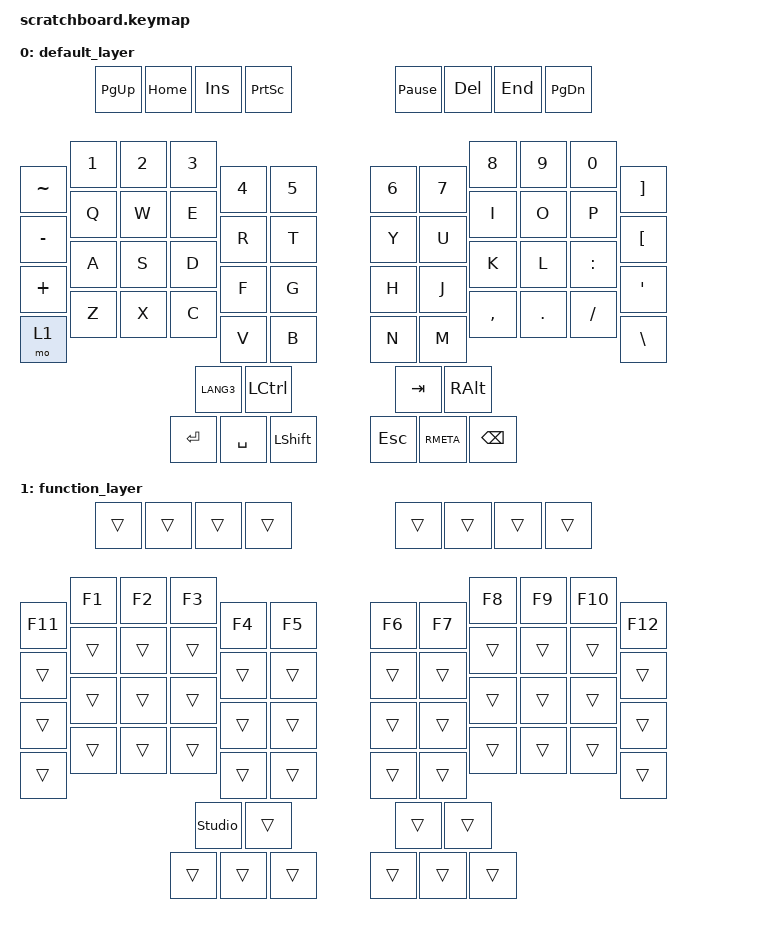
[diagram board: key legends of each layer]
// This file was generated from a template. Edit it to match your keyboard.
// See https://zmk.dev/docs/development/hardware-integration/new-shield for more instructions.

#include <behaviors.dtsi>
#include <dt-bindings/zmk/keys.h>

/ {
    // Define a default keymap here.
    // See https://zmk.dev/docs/development/hardware-integration/new-shield#default-keymap.

    keymap {
        compatible = "zmk,keymap";

        default_layer {
            bindings = <
                      &kp PG_UP         &kp HOME  &kp INS    &kp PSCRN   &kp PAUSE_BREAK  &kp DEL    &kp END        &kp PG_DN
&kp TILDE  &kp N1     &kp N2            &kp N3    &kp N4     &kp N5      &kp N6           &kp N7     &kp N8         &kp N9      &kp N0         &kp RBKT
&kp MINUS  &kp Q      &kp W             &kp E     &kp R      &kp T       &kp Y            &kp U      &kp I          &kp O       &kp P          &kp LBKT
&kp PLUS   &kp A      &kp S             &kp D     &kp F      &kp G       &kp H            &kp J      &kp K          &kp L       &kp COLON      &kp SQT
&mo 1      &kp Z      &kp X             &kp C     &kp V      &kp B       &kp N            &kp M      &kp COMMA      &kp PERIOD  &kp SLASH      &kp BSLH
           &kp LANG3  &kp LCTRL         &kp RET   &kp SPACE  &kp LSHIFT  &kp ESC          &kp RMETA  &kp BACKSPACE  &kp TAB     &kp RIGHT_ALT
            >;
        };

        function_layer {
            bindings = <
                         &trans  &trans  &trans  &trans  &trans  &trans  &trans  &trans
&kp F11  &kp F1          &kp F2  &kp F3  &kp F4  &kp F5  &kp F6  &kp F7  &kp F8  &kp F9  &kp F10  &kp F12
&trans   &trans          &trans  &trans  &trans  &trans  &trans  &trans  &trans  &trans  &trans   &trans
&trans   &trans          &trans  &trans  &trans  &trans  &trans  &trans  &trans  &trans  &trans   &trans
&trans   &trans          &trans  &trans  &trans  &trans  &trans  &trans  &trans  &trans  &trans   &trans
         &studio_unlock  &trans  &trans  &trans  &trans  &trans  &trans  &trans  &trans  &trans
            >;
        };
    };
};
